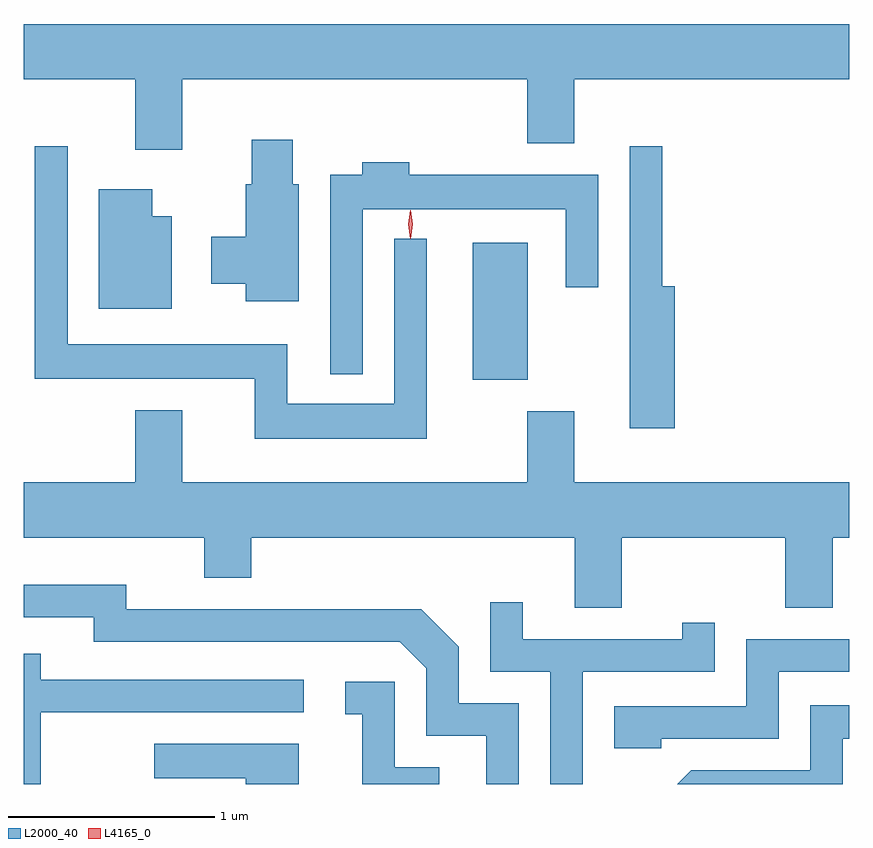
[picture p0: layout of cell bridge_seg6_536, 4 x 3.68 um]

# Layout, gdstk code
import gdstk
lib = gdstk.Library(unit=1e-6, precision=1e-09)
def R(c, l, rs):  # rectangles x0, y0, x1, y1
    for r in rs: c.add(gdstk.rectangle(r[:2], r[2:], *l))
def P(c, l, *ps):  # polygons
    for p in ps: c.add(gdstk.Polygon(p, *l))
L2000_40 = (2000, 40)
L4165_0 = (4165, 0)

bridge_seg6_536 = lib.new_cell('bridge_seg6_536')
R(bridge_seg6_536, L2000_40, [(446.136,1661.801,446.404,1662.464)])
P(bridge_seg6_536, L2000_40, [(443.961,1663.256),(444.501,1663.256),(444.501,1662.916),(444.729,1662.916),(444.729,1663.256),(446.401,1663.256),(446.401,1662.946),(446.629,1662.946),(446.629,1663.256),(447.961,1663.256),(447.961,1663.524),(443.961,1663.524)],
  [(445.294,1662.749),(445.264,1662.749),(445.264,1662.964),(445.066,1662.964),(445.066,1662.749),(445.036,1662.749),(445.036,1662.494),(444.871,1662.494),(444.871,1662.266),(445.036,1662.266),(445.036,1662.181),(445.294,1662.181)],
  [(447.114,1662.254),(447.054,1662.254),(447.054,1662.933),(446.896,1662.933),(446.896,1661.566),(447.114,1661.566)],
  [(445.914,1662.483),(445.756,1662.483),(445.756,1661.684),(445.239,1661.684),(445.239,1661.974),(444.174,1661.974),(444.174,1662.933),(444.016,1662.933),(444.016,1661.806),(445.081,1661.806),(445.081,1661.516),(445.914,1661.516)],
  [(445.604,1662.626),(446.586,1662.626),(446.586,1662.248),(446.744,1662.248),(446.744,1662.794),(445.829,1662.794),(445.829,1662.854),(445.601,1662.854),(445.601,1662.794),(445.446,1662.794),(445.446,1661.828),(445.604,1661.828)],
  [(444.679,1662.594),(444.584,1662.594),(444.584,1662.724),(444.326,1662.724),(444.326,1662.146),(444.679,1662.146)],
  [(446.859,1661.036),(447.651,1661.036),(447.651,1660.696),(447.879,1660.696),(447.879,1661.036),(447.961,1661.036),(447.961,1661.304),(446.629,1661.304),(446.629,1661.649),(446.401,1661.649),(446.401,1661.304),(444.729,1661.304),(444.729,1661.654),(444.501,1661.654),(444.501,1661.304),(443.961,1661.304),(443.961,1661.036),(444.836,1661.036),(444.836,1660.841),(445.064,1660.841),(445.064,1661.036),(446.631,1661.036),(446.631,1660.696),(446.859,1660.696)],
  [(446.359,1660.234),(446.069,1660.234),(446.069,1660.507),(445.887,1660.689),(444.459,1660.689),(444.459,1660.809),(443.961,1660.809),(443.961,1660.651),(444.301,1660.651),(444.301,1660.531),(445.784,1660.531),(445.911,1660.404),(445.911,1660.076),(446.201,1660.076),(446.201,1659.843),(446.359,1659.843)],
  [(446.669,1660.386),(447.309,1660.386),(447.309,1660.623),(447.151,1660.623),(447.151,1660.544),(446.379,1660.544),(446.379,1660.723),(446.221,1660.723),(446.221,1660.386),(446.511,1660.386),(446.511,1659.843),(446.669,1659.843)],
  [(447.049,1660.061),(447.619,1660.061),(447.619,1660.386),(447.961,1660.386),(447.961,1660.544),(447.461,1660.544),(447.461,1660.219),(446.821,1660.219),(446.821,1660.016),(447.049,1660.016)],
  [(444.044,1660.191),(445.318,1660.191),(445.318,1660.349),(444.044,1660.349),(444.044,1660.473),(443.961,1660.473),(443.961,1659.843),(444.044,1659.843)],
  [(445.974,1659.924),(445.759,1659.924),(445.759,1660.339),(445.518,1660.339),(445.518,1660.181),(445.601,1660.181),(445.601,1659.843),(445.974,1659.843)],
  [(447.929,1660.061),(447.961,1660.061),(447.961,1660.224),(447.771,1660.224),(447.771,1659.909),(447.194,1659.909),(447.128,1659.843),(447.929,1659.843)],
  [(445.294,1660.039),(444.593,1660.039),(444.593,1659.871),(445.036,1659.871),(445.036,1659.843),(445.294,1659.843)])
P(bridge_seg6_536, L4165_0, [(445.834,1662.484),(445.825,1662.553),(445.834,1662.622),(445.835,1662.623),(445.836,1662.622),(445.845,1662.553),(445.836,1662.484),(445.835,1662.484)],
  [(445.834,1662.487),(445.825,1662.554),(445.834,1662.62),(445.835,1662.621),(445.835,1662.62),(445.845,1662.554),(445.835,1662.487),(445.835,1662.487)])

lib.write_gds('bridge_seg6_536.gds')
